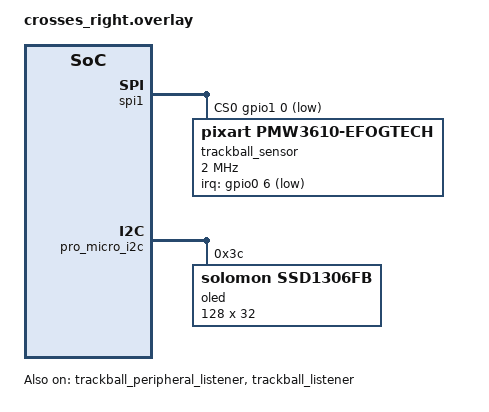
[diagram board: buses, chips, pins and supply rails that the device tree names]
/*
 * Copyright (c) 2025 Vincent Franco
 * SPDX-License-Identifier: MIT
 */

#include "crosses.dtsi"
#include "input_processors.dtsi"
#include <zephyr/dt-bindings/input/input-event-codes.h>
#include <dt-bindings/zmk/input_transform.h>

&default_transform {
  col-offset = <6>;
};

&forty_two_transform {
  col-offset = <6>;
};

&thirty_six_transform {
  col-offset = <6>;
};

&kscan0 {
  col-gpios
    = <&gpio1 11 (GPIO_ACTIVE_HIGH | GPIO_PULL_DOWN)>
    , <&gpio0 10  (GPIO_ACTIVE_HIGH | GPIO_PULL_DOWN)>
    , <&gpio0 9 (GPIO_ACTIVE_HIGH | GPIO_PULL_DOWN)>
    , <&gpio1 13 (GPIO_ACTIVE_HIGH | GPIO_PULL_DOWN)>
    , <&gpio1 15 (GPIO_ACTIVE_HIGH | GPIO_PULL_DOWN)>
    , <&gpio0 8 (GPIO_ACTIVE_HIGH | GPIO_PULL_DOWN)>
    ;

};

&trackball_peripheral_listener {
  status = "okay";
};

&spi1 {
  cs-gpios = <&gpio1 0 GPIO_ACTIVE_LOW>;

  trackball_sensor: trackball_central: trackball_central@0 {
    status = "okay";
    compatible = "pixart,pmw3610-efogtech";
    reg = <0>;
    spi-max-frequency = <2000000>;
    irq-gpios = <&gpio0 6 (GPIO_ACTIVE_LOW | GPIO_PULL_UP)>;
    cpi = <1000>;
    xy-swap;
    // x-invert;
    // y-invert;
    evt-type = <INPUT_EV_REL>;
    x-input-code = <INPUT_REL_X>;
    y-input-code = <INPUT_REL_Y>;
    force-awake;
    /* keep the sensor awake while ZMK activity state is ACTIVE,
        fallback to normal downshift mode after ZMK goes into IDLE / SLEEP mode.
        thus, the sensor would be a `wakeup-source` */
  };
};

// Overrides for the input listener node
&trackball_listener {
  status = "okay";
  device = <&trackball_sensor>;
  input-processors = <&zip_ble_report_rate_limit>,
                     <&zip_auto_mouse 6 500>,
                     <&zip_xy_scaler 9 20>;

  scroller {
    layers = <2>;
    input-processors =
      <&zip_xy_transform INPUT_TRANSFORM_Y_INVERT>,
      <&zip_xy_scaler 1 32>,
      <&zip_xy_to_scroll_mapper>;
  };

  sniper {
    layers = <1>;
    input-processors = <&zip_xy_scaler 1 4>;
  };
};

&pro_micro_i2c {
    status = "okay";

    oled: ssd1306@3c {
        compatible = "solomon,ssd1306fb";
        reg = <0x3c>;
        width = <128>;
        height = <32>;
        segment-offset = <0>;
        page-offset = <0>;
        display-offset = <0>;
        multiplex-ratio = <31>;
        segment-remap;
        com-invdir;
        com-sequential;
        inversion-on;
        prechargep = <0x22>;
    };
};
